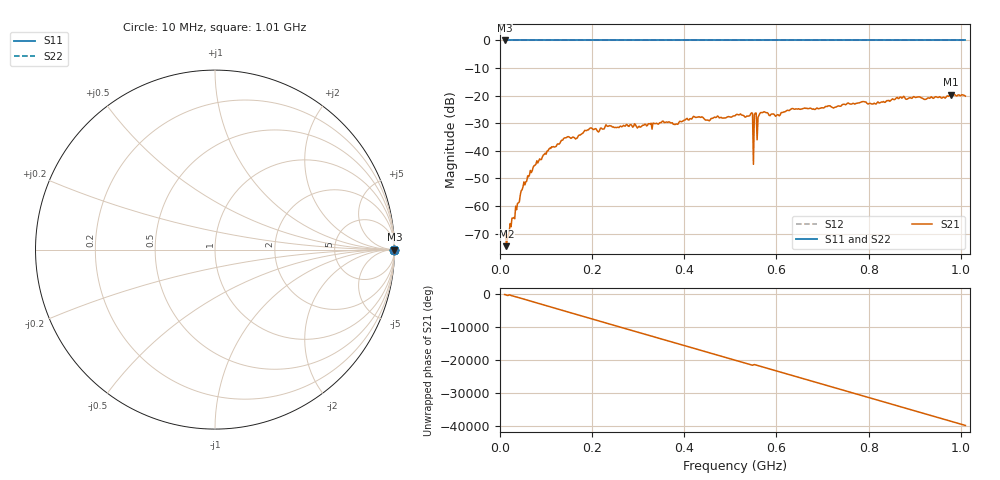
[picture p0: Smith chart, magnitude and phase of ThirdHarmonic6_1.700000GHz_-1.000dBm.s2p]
! 8/16/2025 8:26:06 PM
! C:\ANRITSUVNA\TEMP\TEMP.S2P
! CHANNEL.1
! TR.MEASUREMENT
! RAW.DATA
! RF.CORRECTION.OFF
! AVERAGING.OFF
! IF.BANDWIDTH: 5KHZ
! SWEEPTYPE:  FREQ.SWEEP(Linear)
! Reference Plane Port Info
! PORT:  PORT1  PORT2
! DISTANCE:  0  m  0  m
! TIME:  0  s  0  s
! PHASE.OFFSET:  0  deg.  0  deg.
! LOSS:  0  dB  0  dB
! REF.LOSS:  0  dB  0  dB
! REF.FREQ:  0  Hz  0  Hz
! Power Info
! POWER:  -20  dBm  -20  dBm
! EFF.POWER:  -20  dBm  -20  dBm
! SOURCE.ATTEN:  0  dB  0  dB
! TEST.ATTEN:  0  dB  0  dB
# GHZ S RI R 50.0
! FREQ.GHZ  S11RE  S11IM  S21RE  S21IM  S12RE  S12IM  S22RE  S22IM
!; PortSelection: Port_12
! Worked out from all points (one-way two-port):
!   501 points, 10 MHz to 1.01 GHz, reference 50 ohm
!   highest |S21| = -19.59 dB at 978 MHz (marker M1); lowest = -74.6 dB at 14 MHz (marker M2)
!   lowest |S11| = 0.0 dB at 10 MHz (marker M3)
!   |S11| at or under -10 dB: nowhere
!   |S22| runs from 0.0 to 0.0 dB; largest |S21 - S12| = 1.1
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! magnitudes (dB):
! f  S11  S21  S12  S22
! 10 MHz  0.0  -70.2  0.0  0.0
! 14 MHz  0.0  -74.6  0.0  0.0
! 18 MHz  0.0  -70.6  0.0  0.0
! 48 MHz  0.0  -54.1  0.0  0.0
! 76 MHz  0.0  -45.2  0.0  0.0
! 138 MHz  0.0  -35.6  0.0  0.0
! 178 MHz  0.0  -33.8  0.0  0.0
! 234 MHz  0.0  -31.1  0.0  0.0
! 344 MHz  0.0  -30.3  0.0  0.0
! 510 MHz  0.0  -27.3  0.0  0.0
! 544 MHz  0.0  -26.6  0.0  0.0
! 546 MHz  0.0  -26.2  0.0  0.0
! 552 MHz  0.0  -26.9  0.0  0.0
! 554 MHz  0.0  -26.3  0.0  0.0
! 556 MHz  0.0  -26.3  0.0  0.0
! 568 MHz  0.0  -26.1  0.0  0.0
! 602 MHz  0.0  -26.9  0.0  0.0
! 634 MHz  0.0  -24.7  0.0  0.0
! 678 MHz  0.0  -24.9  0.0  0.0
! 844 MHz  0.0  -21.7  0.0  0.0
! 978 MHz  0.0  -19.6  0.0  0.0
! 1.01 GHz  0.0  -20.2  0.0  0.0
